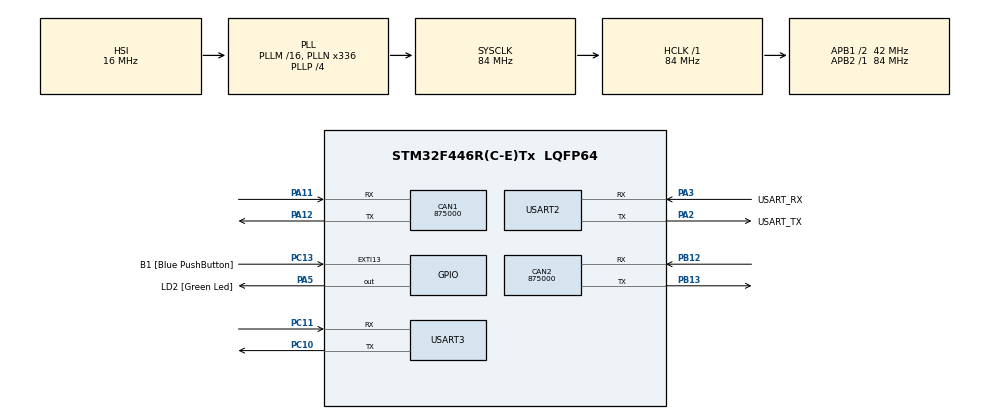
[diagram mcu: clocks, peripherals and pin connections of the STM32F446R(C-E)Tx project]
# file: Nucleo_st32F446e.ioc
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CAN1.CalculateBaudRate=875000
CAN1.CalculateTimeBit=1142
CAN1.CalculateTimeQuantum=380.95238095238096
CAN2.CalculateBaudRate=875000
CAN2.CalculateTimeBit=1142
CAN2.CalculateTimeQuantum=380.95238095238096
Mcu.Family=STM32F4
Mcu.Name=STM32F446R(C-E)Tx
Mcu.Package=LQFP64
NVIC.PriorityGroup=NVIC_PRIORITYGROUP_0
PA11.Mode=CAN_Activate
PA11.Signal=CAN1_RX
PA12.Mode=CAN_Activate
PA12.Signal=CAN1_TX
PA13.GPIO_Label=TMS
PA13.Mode=Serial_Wire
PA13.Signal=SYS_JTMS-SWDIO
PA14.GPIO_Label=TCK
PA14.Mode=Serial_Wire
PA14.Signal=SYS_JTCK-SWCLK
PA2.GPIO_Label=USART_TX
PA2.Mode=Asynchronous
PA2.Signal=USART2_TX
PA3.GPIO_Label=USART_RX
PA3.Mode=Asynchronous
PA3.Signal=USART2_RX
PA5.GPIO_Label=LD2 [Green Led]
PA5.Signal=GPIO_Output
PB12.Mode=CAN_Activate
PB12.Signal=CAN2_RX
PB13.Mode=CAN_Activate
PB13.Signal=CAN2_TX
PB3.GPIO_Label=SWO
PB3.Signal=SYS_JTDO-SWO
PC10.Mode=Asynchronous
PC10.Signal=USART3_TX
PC11.Mode=Asynchronous
PC11.Signal=USART3_RX
PC13.GPIO_Label=B1 [Blue PushButton]
PC13.GPIO_ModeDefaultEXTI=GPIO_MODE_IT_FALLING
PC13.Signal=GPXTI13
PC14-OSC32_IN.Mode=LSE-External-Oscillator
PC14-OSC32_IN.Signal=RCC_OSC32_IN
PC15-OSC32_OUT.Mode=LSE-External-Oscillator
PC15-OSC32_OUT.Signal=RCC_OSC32_OUT
PH0-OSC_IN.Mode=HSE-External-Oscillator
PH0-OSC_IN.Signal=RCC_OSC_IN
PH1-OSC_OUT.Mode=HSE-External-Oscillator
PH1-OSC_OUT.Signal=RCC_OSC_OUT
ProjectManager.HeapSize=0x200
ProjectManager.StackSize=0x400
ProjectManager.TargetToolchain=STM32CubeIDE
RCC.48MHZClocksFreq_Value=84000000
RCC.AHBFreq_Value=84000000
RCC.APB1CLKDivider=RCC_HCLK_DIV2
RCC.APB1Freq_Value=42000000
RCC.APB1TimFreq_Value=84000000
RCC.APB2Freq_Value=84000000
RCC.APB2TimFreq_Value=84000000
RCC.CortexFreq_Value=84000000
RCC.FLatency-AdvancedSettings=FLASH_LATENCY_2
RCC.HCLKFreq_Value=84000000
RCC.HSE_VALUE=8000000
RCC.HSI_VALUE=16000000
RCC.PLLN=336
RCC.PLLP=RCC_PLLP_DIV4
RCC.SYSCLKFreq_VALUE=84000000
RCC.SYSCLKSource=RCC_SYSCLKSOURCE_PLLCLK
RCC.USBFreq_Value=168000000
RCC.VCOOutputFreq_Value=336000000
USART2.VirtualMode=VM_ASYNC
USART3.VirtualMode=VM_ASYNC
VP_CRC_VS_CRC.Mode=CRC_Activate
board=NUCLEO-F446RE

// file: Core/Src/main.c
/* USER CODE BEGIN Header */
/**
  ******************************************************************************
  * @file           : main.c
  * @brief          : Main program body
  ******************************************************************************
  * @attention
  *
  * Copyright (c) 2025 STMicroelectronics.
  * All rights reserved.
  *
  * This software is licensed under terms that can be found in the LICENSE file
  * in the root directory of this software component.
  * If no LICENSE file comes with this software, it is provided AS-IS.
  *
  ******************************************************************************
  */
/* USER CODE END Header */
#include "main.h"

CAN_HandleTypeDef hcan1;
CAN_HandleTypeDef hcan2;

CRC_HandleTypeDef hcrc;

UART_HandleTypeDef huart2;
UART_HandleTypeDef huart3;

/* USER CODE BEGIN PV */
#define D_UART   &huart3
#define C_UART   &huart2

#define CRC_VALIDATE_OK 		1U
#define CRC_VALIDATE_NOT_OK 	0U

#define BL_ACK 		0xA5
#define BL_NACK 	0x7F

uint8_t b1_rx_buffer[200];

/* USER CODE END PV */

void SystemClock_Config(void);
static void MX_GPIO_Init(void);
static void MX_USART2_UART_Init(void);
static void MX_USART3_UART_Init(void);
static void MX_CAN1_Init(void);
static void MX_CAN2_Init(void);
static void MX_CRC_Init(void);
/* USER CODE BEGIN PFP */
static void printmsg(char *format,...);

/* USER CODE END PFP */

/* USER CODE BEGIN 0 */

static void bootloader_send_ACK(uint8_t followlen);
static void bootloader_send_NACK(void);
static uint8_t bootloader_Validate_Crc(uint8_t* PData, uint32_t datalen, uint32_t host_crc);
static uint8_t get_bootloader_version(void);
static void bootloader_uart_write_data(uint8_t *pBuffer,uint32_t len);

/* USER CODE END 0 */

int main(void)
{

  /* MCU Configuration--------------------------------------------------------*/

  /* Reset of all peripherals, Initializes the Flash interface and the Systick. */
  HAL_Init();

  /* Configure the system clock */
  SystemClock_Config();

  /* Initialize all configured peripherals */
  MX_GPIO_Init();
  MX_USART2_UART_Init();
  MX_USART3_UART_Init();
  MX_CAN1_Init();
  MX_CAN2_Init();
  MX_CRC_Init();
  /* USER CODE BEGIN 2 */

  if ( HAL_GPIO_ReadPin(B1_GPIO_Port, B1_Pin) == GPIO_PIN_RESET)
  {
	  /*Entering Boot Loader*/
	  printmsg("BL_DEBUG_MSG:Button is pressed .. going to BL mode\n\r");

	  /*Call BootLoader Handler function*/
	  bootloader_Uart_ReadData();
  }
  else
  {

	  printmsg("BL_DEBUG_MSG:Button is NOT pressed .. going to APPL mode\n\r");

	  /*Jump to Application Handler function*/
	  bootloader_Jump_UserAppl();
  }
  /* USER CODE END 2 */

  /* Infinite loop */
  while (1)
  {

  }
}

void SystemClock_Config(void)
{
  RCC_OscInitTypeDef RCC_OscInitStruct = {0};
  RCC_ClkInitTypeDef RCC_ClkInitStruct = {0};

  /** Configure the main internal regulator output voltage
  */
  __HAL_RCC_PWR_CLK_ENABLE();
  __HAL_PWR_VOLTAGESCALING_CONFIG(PWR_REGULATOR_VOLTAGE_SCALE3);

  /** Initializes the RCC Oscillators according to the specified parameters
  * in the RCC_OscInitTypeDef structure.
  */
  RCC_OscInitStruct.OscillatorType = RCC_OSCILLATORTYPE_HSI;
  RCC_OscInitStruct.HSIState = RCC_HSI_ON;
  RCC_OscInitStruct.HSICalibrationValue = RCC_HSICALIBRATION_DEFAULT;
  RCC_OscInitStruct.PLL.PLLState = RCC_PLL_ON;
  RCC_OscInitStruct.PLL.PLLSource = RCC_PLLSOURCE_HSI;
  RCC_OscInitStruct.PLL.PLLM = 16;
  RCC_OscInitStruct.PLL.PLLN = 336;
  RCC_OscInitStruct.PLL.PLLP = RCC_PLLP_DIV4;
  RCC_OscInitStruct.PLL.PLLQ = 2;
  RCC_OscInitStruct.PLL.PLLR = 2;
  if (HAL_RCC_OscConfig(&RCC_OscInitStruct) != HAL_OK)
  {
    Error_Handler();
  }

  /** Initializes the CPU, AHB and APB buses clocks
  */
  RCC_ClkInitStruct.ClockType = RCC_CLOCKTYPE_HCLK|RCC_CLOCKTYPE_SYSCLK
                              |RCC_CLOCKTYPE_PCLK1|RCC_CLOCKTYPE_PCLK2;
  RCC_ClkInitStruct.SYSCLKSource = RCC_SYSCLKSOURCE_PLLCLK;
  RCC_ClkInitStruct.AHBCLKDivider = RCC_SYSCLK_DIV1;
  RCC_ClkInitStruct.APB1CLKDivider = RCC_HCLK_DIV2;
  RCC_ClkInitStruct.APB2CLKDivider = RCC_HCLK_DIV1;

  if (HAL_RCC_ClockConfig(&RCC_ClkInitStruct, FLASH_LATENCY_2) != HAL_OK)
  {
    Error_Handler();
  }
}

static void MX_CAN1_Init(void)
{

  hcan1.Instance = CAN1;
  hcan1.Init.Prescaler = 16;
  hcan1.Init.Mode = CAN_MODE_NORMAL;
  hcan1.Init.SyncJumpWidth = CAN_SJW_1TQ;
  hcan1.Init.TimeSeg1 = CAN_BS1_1TQ;
  hcan1.Init.TimeSeg2 = CAN_BS2_1TQ;
  hcan1.Init.TimeTriggeredMode = DISABLE;
  hcan1.Init.AutoBusOff = DISABLE;
  hcan1.Init.AutoWakeUp = DISABLE;
  hcan1.Init.AutoRetransmission = DISABLE;
  hcan1.Init.ReceiveFifoLocked = DISABLE;
  hcan1.Init.TransmitFifoPriority = DISABLE;
  if (HAL_CAN_Init(&hcan1) != HAL_OK)
  {
    Error_Handler();
  }

}

static void MX_CAN2_Init(void)
{

  hcan2.Instance = CAN2;
  hcan2.Init.Prescaler = 16;
  hcan2.Init.Mode = CAN_MODE_NORMAL;
  hcan2.Init.SyncJumpWidth = CAN_SJW_1TQ;
  hcan2.Init.TimeSeg1 = CAN_BS1_1TQ;
  hcan2.Init.TimeSeg2 = CAN_BS2_1TQ;
  hcan2.Init.TimeTriggeredMode = DISABLE;
  hcan2.Init.AutoBusOff = DISABLE;
  hcan2.Init.AutoWakeUp = DISABLE;
  hcan2.Init.AutoRetransmission = DISABLE;
  hcan2.Init.ReceiveFifoLocked = DISABLE;
  hcan2.Init.TransmitFifoPriority = DISABLE;
  if (HAL_CAN_Init(&hcan2) != HAL_OK)
  {
    Error_Handler();
  }

}

static void MX_CRC_Init(void)
{

  hcrc.Instance = CRC;
  if (HAL_CRC_Init(&hcrc) != HAL_OK)
  {
    Error_Handler();
  }

}

static void MX_USART2_UART_Init(void)
{

  huart2.Instance = USART2;
  huart2.Init.BaudRate = 115200;
  huart2.Init.WordLength = UART_WORDLENGTH_8B;
  huart2.Init.StopBits = UART_STOPBITS_1;
  huart2.Init.Parity = UART_PARITY_NONE;
  huart2.Init.Mode = UART_MODE_TX_RX;
  huart2.Init.HwFlowCtl = UART_HWCONTROL_NONE;
  huart2.Init.OverSampling = UART_OVERSAMPLING_16;
  if (HAL_UART_Init(&huart2) != HAL_OK)
  {
    Error_Handler();
  }

}

static void MX_USART3_UART_Init(void)
{

  huart3.Instance = USART3;
  huart3.Init.BaudRate = 115200;
  huart3.Init.WordLength = UART_WORDLENGTH_8B;
  huart3.Init.StopBits = UART_STOPBITS_1;
  huart3.Init.Parity = UART_PARITY_NONE;
  huart3.Init.Mode = UART_MODE_TX_RX;
  huart3.Init.HwFlowCtl = UART_HWCONTROL_NONE;
  huart3.Init.OverSampling = UART_OVERSAMPLING_16;
  if (HAL_UART_Init(&huart3) != HAL_OK)
  {
    Error_Handler();
  }

}

static void MX_GPIO_Init(void)
{
  GPIO_InitTypeDef GPIO_InitStruct = {0};

  /* GPIO Ports Clock Enable */
  __HAL_RCC_GPIOC_CLK_ENABLE();
  __HAL_RCC_GPIOH_CLK_ENABLE();
  __HAL_RCC_GPIOA_CLK_ENABLE();
  __HAL_RCC_GPIOB_CLK_ENABLE();

  /*Configure GPIO pin Output Level */
  HAL_GPIO_WritePin(LD2_GPIO_Port, LD2_Pin, GPIO_PIN_RESET);

  /*Configure GPIO pin : B1_Pin */
  GPIO_InitStruct.Pin = B1_Pin;
  GPIO_InitStruct.Mode = GPIO_MODE_IT_FALLING;
  GPIO_InitStruct.Pull = GPIO_NOPULL;
  HAL_GPIO_Init(B1_GPIO_Port, &GPIO_InitStruct);

  /*Configure GPIO pin : LD2_Pin */
  GPIO_InitStruct.Pin = LD2_Pin;
  GPIO_InitStruct.Mode = GPIO_MODE_OUTPUT_PP;
  GPIO_InitStruct.Pull = GPIO_NOPULL;
  GPIO_InitStruct.Speed = GPIO_SPEED_FREQ_LOW;
  HAL_GPIO_Init(LD2_GPIO_Port, &GPIO_InitStruct);

}

/* USER CODE BEGIN 4 */

/* Function to handle the BootLoader service requests */
void bootloader_Uart_ReadData(void)
{
	uint8_t rcv_len = 0;

	 printmsg("BL_DEBUG_MSG:Start polling for BOOTLOADER service requests\n\r");

	/* once enter to the CUSTOM BOOTLOADER, the control will be here until next RESET */
	while(1)
	{

		/*Reset the rx_buffer*/
		memset(b1_rx_buffer, 0, sizeof(b1_rx_buffer));
		HAL_UART_Receive(C_UART,b1_rx_buffer,1,HAL_MAX_DELAY);
		rcv_len = b1_rx_buffer[0];
		HAL_UART_Receive(C_UART, &b1_rx_buffer[1],rcv_len,HAL_MAX_DELAY);

		switch(b1_rx_buffer[1])
		{
			case BL_GET_VER:
				bootloaderHandle_Get_Ver_Cmd(b1_rx_buffer);

			case BL_GET_HELP:
				bootloaderHandle_Get_Help_Cmd();

			case BL_GET_CID:
				bootloaderHandle_Get_ChipId_Cmd();

			case BL_GET_RDP_STATUS:
				bootloaderHandle_Get_RDPStatus_Cmd();

		}

	}

}

/* Function to handle the jump to application from BootLoader */
void bootloader_Jump_UserAppl(void)
{

   //just a function pointer to hold the address of the reset handler of the user application.
    void (*app_reset_handler)(void);

    printmsg("BL_DEBUG_MSG:bootloader_jump_to_user_app\n\r");

    // 1. configure the MSP by reading the value from the base address of the sector 2
    uint32_t msp_value = *(volatile uint32_t *)FLASH_SECTOR2_BASE_ADDRESS;
    printmsg("BL_DEBUG_MSG:MSP value : %#x\n\r",msp_value);

    __disable_irq();

    SCB->VTOR = FLASH_SECTOR2_BASE_ADDRESS;

    printmsg("BL_DEBUG_MSG:VTOR Set value : %#x\n\r",SCB->VTOR);

    //This function comes from CMSIS.
    __set_MSP(msp_value);

    __enable_irq();

    /* 2. Now fetch the reset handler address of the user application
     * from the location FLASH_SECTOR2_BASE_ADDRESS+4
     */
    uint32_t resethandler_address = *(volatile uint32_t *) (FLASH_SECTOR2_BASE_ADDRESS + 4);

    app_reset_handler = (void*) resethandler_address;

    printmsg("BL_DEBUG_MSG: app reset handler addr : %#x\n\r",app_reset_handler);

    //3. jump to reset handler of the user application
    app_reset_handler();

}
/* prints formatted string to console over UART */
 void printmsg(char *format,...)
 {
	char str[80];
#ifdef BL_DEBUG_MSG
	/*Extract the the argument list using VA apis */
	va_list args;
	va_start(args, format);
	vsnprintf(str,sizeof(str),format,args);
	va_end(args);
	HAL_UART_Transmit(C_UART,(uint8_t *)str, strlen(str),HAL_MAX_DELAY);
#endif
 }

 /*****BOOTLOADER Service function implementations*****/

 /* BOOTLOADER service to read the Version Number of the BOOTLOADER SW */
void bootloaderHandle_Get_Ver_Cmd(uint8_t *rx_buffer)
{
	uint8_t bl_version;
	uint32_t commandpacketlength;
	uint32_t host_crc;

	commandpacketlength = rx_buffer[0]+1;
	host_crc = *((uint32_t*) (rx_buffer+commandpacketlength-4));

	/*DO the CRC check ::
	 * check to transmit ACK / NACK */
	if ( CRC_VALIDATE_OK==
		bootloader_Validate_Crc(rx_buffer, commandpacketlength-4,host_crc))
	{
		 printmsg("BL_DEBUG_MSG:checksum success !!\n");

		/*0xA5*/
		bootloader_send_ACK(1);

        bl_version=get_bootloader_version();
        printmsg("BL_DEBUG_MSG:BL_VER : %d %#x\n",bl_version,bl_version);
        bootloader_uart_write_data(&bl_version,1);
	}
	else
	{
		/*0x7F*/
		bootloader_send_NACK();
	}

}

void bootloaderHandle_Get_Help_Cmd(void){}

void bootloaderHandle_Get_ChipId_Cmd(void){}

void bootloaderHandle_Get_RDPStatus_Cmd(void){}

/* Static functions */
static void bootloader_send_ACK(uint8_t followlen)
{
	uint8_t ACKBuff[2];

	ACKBuff[0] = BL_ACK;
	ACKBuff[1] = followlen;
	HAL_UART_Transmit(C_UART,ACKBuff,2,HAL_MAX_DELAY);

}
static void bootloader_send_NACK(void)
{
	uint8_t NACKBuff;

	NACKBuff = BL_NACK;
	HAL_UART_Transmit(C_UART,&NACKBuff,1,HAL_MAX_DELAY);

}
static uint8_t bootloader_Validate_Crc(uint8_t *PData, uint32_t datalen, uint32_t host_crc)
{
	uint8_t retVal = CRC_VALIDATE_NOT_OK;
	uint32_t calc_crc = 0xff;
	uint32_t i_data;

	for(uint8_t i=0; i< datalen; i++)
	{
		i_data = PData[i];
		calc_crc = HAL_CRC_Accumulate(&hcrc,&i_data,1);
	}

	 /* Reset CRC Calculation Unit */
	__HAL_CRC_DR_RESET(&hcrc);

	if(calc_crc == host_crc)
	{
		retVal = CRC_VALIDATE_OK;
	}

	return retVal;
}

static uint8_t get_bootloader_version(void)
{

	uint8_t retval;
	retval = BL_VERSION_INFO;
	return retval;
}

static void bootloader_uart_write_data(uint8_t *pBuffer,uint32_t len)
{
    /*you can replace the below ST's USART driver API call with your MCUs driver API call */
	HAL_UART_Transmit(C_UART,pBuffer,len,HAL_MAX_DELAY);

}

/* USER CODE END 4 */

void Error_Handler(void)
{
  __disable_irq();
  while (1)
  {
  }
}
